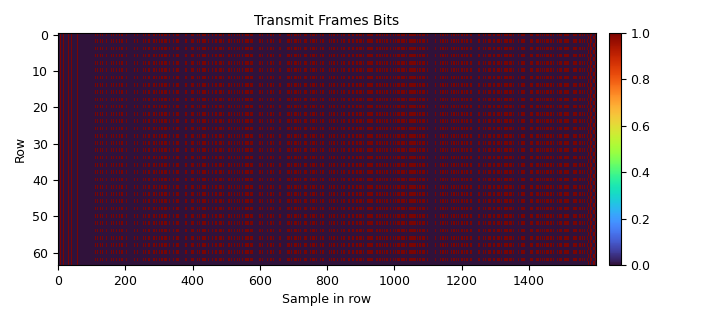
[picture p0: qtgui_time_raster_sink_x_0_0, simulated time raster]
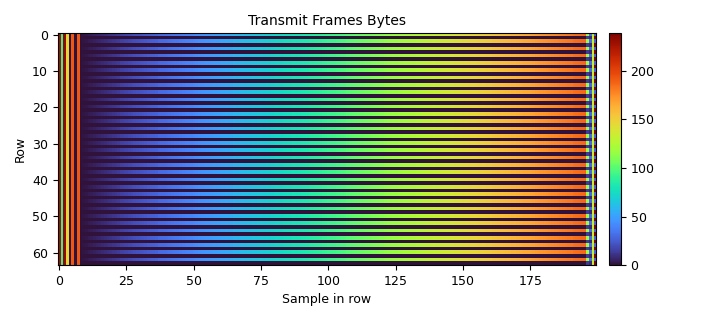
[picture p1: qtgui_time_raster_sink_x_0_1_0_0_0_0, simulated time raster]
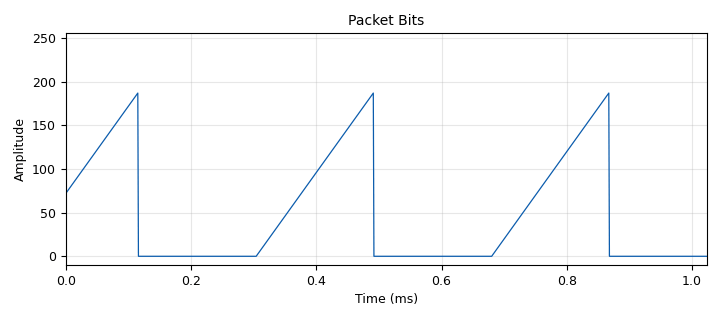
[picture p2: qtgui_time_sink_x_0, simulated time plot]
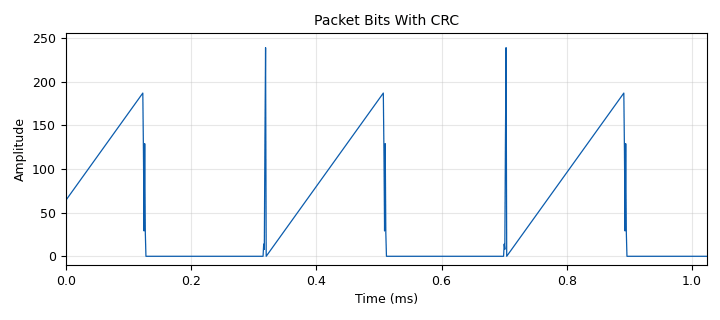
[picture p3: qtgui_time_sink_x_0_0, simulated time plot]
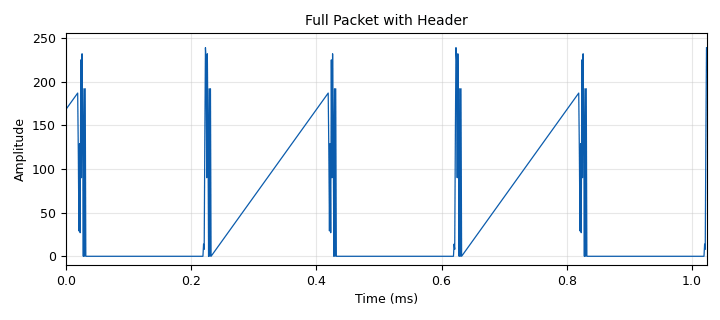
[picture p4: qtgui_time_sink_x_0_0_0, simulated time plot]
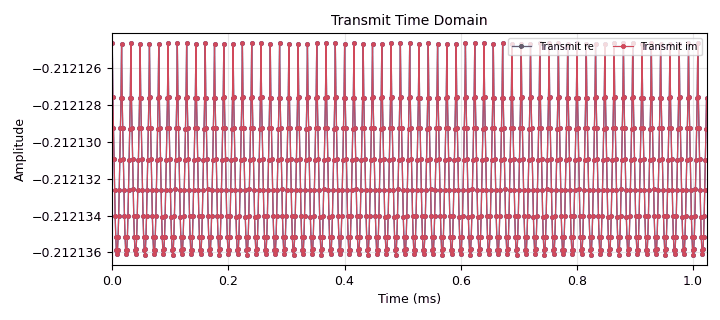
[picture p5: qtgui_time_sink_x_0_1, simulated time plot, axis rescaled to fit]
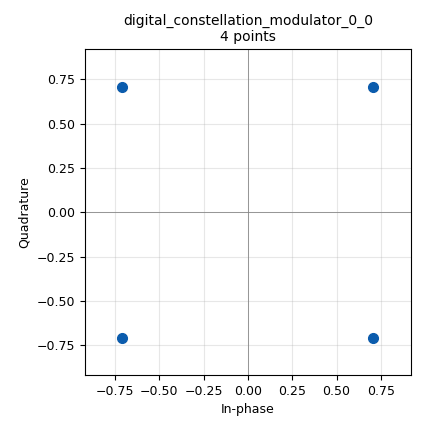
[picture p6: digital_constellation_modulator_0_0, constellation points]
options:
  parameters:
    generate_options: qt_gui
    id: comms_project_tx
    output_language: python
    title: Packetized MPEG Transmitter
  states: {}

blocks:
- name: access_key
  id: variable
  parameters:
    value: '''11100001010110101110100010010011'''
  states: {}
- name: alpha
  id: variable
  parameters:
    comment: |-
      Can't change alpha in real time
      for Consteallation Modulator
    value: '0.45'
  states: {}
- name: bps
  id: variable
  parameters:
    value: constellation.bits_per_symbol()
  states: {}
- name: center_freq
  id: variable
  parameters:
    value: 915e6
  states: {}
- name: constellation
  id: variable_constellation
  parameters:
    precision: '8'
    type: bpsk
  states: {state: disabled}
- name: constellation
  id: variable_constellation
  parameters:
    comment: Differentially encoded 4QAM constellation
    const_points: '[-1-1j, -1+1j, 1+1j, 1-1j]'
    dims: '1'
    normalization: digital.constellation.AMPLITUDE_NORMALIZATION
    precision: '8'
    rot_sym: '4'
    sym_map: '[0, 1, 2, 3]'
    type: calcdist
  states: {}
- name: constellation
  id: variable_constellation
  parameters:
    comment: Differentially encoded 16QAM constellation
    precision: '8'
    sym_map: '[0, 1, 2, 3, 4, 5, 6, 7, 8, 9, 10, 11, 12, 13, 14, 15, 16]'
    type: 16qam
  states: {state: disabled}
- name: constellation
  id: variable_constellation
  parameters:
    comment: Differentially encoded 16QAM constellation
    const_points: |-
      [-0.9486832980505138-0.9486832980505138j,
       -0.31622776601683794-0.9486832980505138j,
        0.31622776601683794-0.9486832980505138j,
        0.9486832980505138-0.9486832980505138j,

       -0.9486832980505138-0.31622776601683794j,
       -0.31622776601683794-0.31622776601683794j,
        0.31622776601683794-0.31622776601683794j,
        0.9486832980505138-0.31622776601683794j,

       -0.9486832980505138+0.31622776601683794j,
       -0.31622776601683794+0.31622776601683794j,
        0.31622776601683794+0.31622776601683794j,
        0.9486832980505138+0.31622776601683794j,

       -0.9486832980505138+0.9486832980505138j,
       -0.31622776601683794+0.9486832980505138j,
        0.31622776601683794+0.9486832980505138j,
        0.9486832980505138+0.9486832980505138j]
    dims: '1'
    normalization: digital.constellation.AMPLITUDE_NORMALIZATION
    precision: '8'
    rot_sym: '4'
    sym_map: '[0, 1, 2, 3, 4, 5, 6, 7, 8, 9, 10, 11, 12, 13, 14, 15]'
    type: calcdist
  states: {state: disabled}
- name: crc_data_sync
  id: variable_qtgui_range
  parameters:
    rangeType: int
    start: '0'
    step: '1'
    stop: '40000'
    value: 188+4
  states: {state: disabled}
- name: frame_sync_cols
  id: variable_qtgui_range
  parameters:
    comment: header_format_default
    start: '0'
    step: '1'
    stop: '2000'
    value: '200'
  states: {}
- name: hdr_format
  id: variable
  parameters:
    comment: header_format_default
    value: digital.header_format_default(access_key, thresh, bps)
  states: {}
- name: packet_groups
  id: variable
  parameters:
    value: '1'
  states: {}
- name: packet_length
  id: variable
  parameters:
    comment: |-
      Group together multiple packets
      to prevent flooding of PDU queue
    value: packet_groups*ts_packet_size
  states: {}
- name: packet_sync_2
  id: variable_qtgui_range
  parameters:
    rangeType: int
    start: '0'
    step: '1'
    stop: '40000'
    value: '200'
  states: {state: disabled}
- name: pkt_fec
  id: variable_ccsds_encoder_def
  parameters:
    comment: |-
      We're going to pass CRC + payload 
      into the FEC, that way at the receiver we
      can fix the CRC and header. Then if the
      CRC fails after FEC we drop the full packet
    framebits: 8*(packet_length+4)
    mode: fec.CC_TERMINATED
    ndim: '0'
    state_start: '0'
  states: {state: disabled}
- name: pkt_fec_dec
  id: variable_repetition_decoder_def
  parameters:
    framebits: 8*(packet_length+4)
    ndim: '0'
    prob: '0.5'
    rep: '3'
  states: {}
- name: pkt_fec_enc
  id: variable_repetition_encoder_def
  parameters:
    framebits: 8*(packet_length+4)
    ndim: '0'
    rep: '3'
  states: {}
- name: raw_data_sync
  id: variable_qtgui_range
  parameters:
    rangeType: int
    start: '0'
    step: '1'
    stop: '40000'
    value: '188'
  states: {}
- name: samp_rate
  id: variable
  parameters:
    value: int(1e6)
  states: {}
- name: sps
  id: variable
  parameters:
    value: '16'
  states: {}
- name: thresh
  id: variable
  parameters:
    value: '0'
  states: {}
- name: ts_packet_size
  id: variable
  parameters:
    value: '188'
  states: {}
- name: tx_attenuation
  id: variable_qtgui_range
  parameters:
    start: '0'
    step: '1'
    stop: '89'
    value: '10'
  states: {}
- name: variable_cc_encoder_def_0
  id: variable_cc_encoder_def
  parameters:
    framebits: '2048'
    k: '7'
    mode: fec.CC_STREAMING
    ndim: '0'
    padding: 'False'
    polys: '[79,109]'
    rate: '2'
    state_start: '0'
  states: {}
- name: video_file
  id: variable
  parameters:
    value: '"./video.ts"'
  states: {state: disabled}
- name: video_file
  id: variable
  parameters:
    value: '"./test_video/mp4sample.ts"'
  states: {}
- name: blocks_file_source_0_0
  id: blocks_file_source
  parameters:
    file: video_file
    repeat: 'True'
    type: byte
  states: {state: disabled}
- name: blocks_multiply_const_vxx_0
  id: blocks_multiply_const_vxx
  parameters:
    const: '0.3'
    type: complex
  states: {}
- name: blocks_null_sink_0
  id: blocks_null_sink
  parameters:
    type: byte
  states: {}
- name: blocks_packed_to_unpacked_xx_0
  id: blocks_packed_to_unpacked_xx
  parameters:
    bits_per_chunk: '1'
    endianness: gr.GR_MSB_FIRST
    type: byte
  states: {}
- name: blocks_repack_bits_bb_0
  id: blocks_repack_bits_bb
  parameters:
    endianness: gr.GR_MSB_FIRST
    k: '8'
    l: '1'
    len_tag_key: '"packet_len"'
  states: {state: disabled}
- name: blocks_repack_bits_bb_0_0
  id: blocks_repack_bits_bb
  parameters:
    endianness: gr.GR_MSB_FIRST
    k: '8'
    l: '1'
    len_tag_key: '"packet_len"'
  states: {state: disabled}
- name: blocks_repack_bits_bb_0_1
  id: blocks_repack_bits_bb
  parameters:
    endianness: gr.GR_MSB_FIRST
    k: '8'
    l: '1'
    len_tag_key: '"packet_len"'
  states: {state: disabled}
- name: blocks_repack_bits_bb_0_2
  id: blocks_repack_bits_bb
  parameters:
    endianness: gr.GR_LSB_FIRST
    k: '1'
    l: '8'
    len_tag_key: '"packet_len"'
  states: {}
- name: blocks_repack_bits_bb_0_2_0
  id: blocks_repack_bits_bb
  parameters:
    endianness: gr.GR_LSB_FIRST
    k: '8'
    l: '1'
    len_tag_key: '"packet_len"'
  states: {}
- name: blocks_stream_mux_0
  id: blocks_stream_mux
  parameters:
    lengths: (188, 188)
    type: byte
  states: {}
- name: blocks_stream_to_tagged_stream_0_0
  id: blocks_stream_to_tagged_stream
  parameters:
    len_tag_key: '"packet_len"'
    packet_len: packet_length
    type: byte
  states: {}
- name: blocks_tagged_stream_mux_0
  id: blocks_tagged_stream_mux
  parameters:
    lengthtagname: '"packet_len"'
    ninputs: '2'
    type: byte
  states: {}
- name: blocks_throttle2_0
  id: blocks_throttle2
  parameters:
    samples_per_second: samp_rate/10
    type: byte
  states: {state: bypassed}
- name: blocks_uchar_to_float_0
  id: blocks_uchar_to_float
  parameters: {}
  states: {}
- name: blocks_uchar_to_float_0_0
  id: blocks_uchar_to_float
  parameters: {}
  states: {}
- name: blocks_uchar_to_float_0_0_0
  id: blocks_uchar_to_float
  parameters: {}
  states: {}
- name: blocks_uchar_to_float_1
  id: blocks_uchar_to_float
  parameters: {}
  states: {}
- name: blocks_uchar_to_float_1_0
  id: blocks_uchar_to_float
  parameters: {}
  states: {}
- name: blocks_vector_source_x_0
  id: blocks_vector_source_x
  parameters:
    repeat: 'True'
    type: byte
    vector: numpy.tile(numpy.arange(188, dtype=numpy.uint8), 1000).tolist()
  states: {}
- name: blocks_vector_source_x_0_0
  id: blocks_vector_source_x
  parameters:
    repeat: 'True'
    type: byte
    vector: numpy.zeros(188, dtype=numpy.uint8).tolist()
  states: {}
- name: digital_constellation_modulator_0_0
  id: digital_constellation_modulator
  parameters:
    constellation: constellation
    differential: 'True'
    excess_bw: alpha
    samples_per_symbol: sps
  states: {}
- name: digital_crc32_bb_0
  id: digital_crc32_bb
  parameters:
    check: 'False'
    lengthtagname: '"packet_len"'
    packed: 'True'
  states: {}
- name: digital_protocol_formatter_bb_0
  id: digital_protocol_formatter_bb
  parameters:
    format: hdr_format
    len_tag_key: '"packet_len"'
  states: {}
- name: fec_tagged_decoder_0
  id: fec_tagged_decoder
  parameters:
    decoder: pkt_fec_dec
    lentagname: '"packet_len"'
    mtu: '4000'
  states: {}
- name: fec_tagged_encoder_0
  id: fec_tagged_encoder
  parameters:
    encoder: pkt_fec_enc
    lentagname: '"packet_len"'
    mtu: '4000'
  states: {}
- name: iio_pluto_sink_0_0_0
  id: iio_pluto_sink
  parameters:
    attenuation1: tx_attenuation
    bandwidth: int(samp_rate)
    buffer_size: '32768'
    cyclic: 'False'
    filter_source: '''Auto'''
    frequency: int(center_freq)
    samplerate: int(samp_rate)
    type: fc32
    uri: 192.168.2.1
  states: {}
- name: import_0
  id: import
  parameters:
    imports: import numpy
  states: {}
- name: import_0_0
  id: import
  parameters:
    imports: import math
  states: {}
- name: qtgui_time_raster_sink_x_0_0
  id: qtgui_time_raster_sink_x
  parameters:
    gui_hint: 28,0
    name: '"Transmit Frames Bits"'
    ncols: frame_sync_cols*8
    nrows: '64'
    samp_rate: samp_rate
    type: byte
    zmin: '0'
  states: {}
- name: qtgui_time_raster_sink_x_0_1_0_0_0_0
  id: qtgui_time_raster_sink_x
  parameters:
    gui_hint: 29,0
    name: '" Transmit Frames Bytes"'
    ncols: frame_sync_cols
    nrows: '64'
    samp_rate: samp_rate
    type: byte
    zmax: '255'
    zmin: '0'
  states: {}
- name: qtgui_time_raster_sink_x_0_1_0_0_0_0_0
  id: qtgui_time_raster_sink_x
  parameters:
    name: '" Transmit Payload Bits"'
    ncols: raw_data_sync*8
    nrows: '64'
    samp_rate: samp_rate
    type: byte
    zmin: '0'
  states: {state: disabled}
- name: qtgui_time_raster_sink_x_0_1_0_0_0_0_0_0
  id: qtgui_time_raster_sink_x
  parameters:
    name: '" Transmit Payload with CRC"'
    ncols: crc_data_sync*8
    nrows: '64'
    samp_rate: samp_rate
    type: byte
    zmin: '0'
  states: {state: disabled}
- name: qtgui_time_raster_sink_x_0_1_0_0_0_0_0_1
  id: qtgui_time_raster_sink_x
  parameters:
    name: '" Transmit Frame Bits #2 (test packing)"'
    ncols: packet_sync_2*8
    nrows: '64'
    samp_rate: samp_rate
    type: byte
    zmin: '0'
  states: {state: disabled}
- name: qtgui_time_raster_sink_x_0_1_0_0_0_0_0_2
  id: qtgui_time_raster_sink_x
  parameters:
    name: '" Transmit Payload Bytes"'
    ncols: raw_data_sync
    nrows: '64'
    samp_rate: samp_rate
    type: byte
    zmin: '0'
  states: {state: disabled}
- name: qtgui_time_sink_x_0
  id: qtgui_time_sink_x
  parameters:
    name: '"Packet Bits"'
    size: '1024'
    srate: samp_rate
    type: float
    ymax: '256'
    ymin: '0'
  states: {}
- name: qtgui_time_sink_x_0_0
  id: qtgui_time_sink_x
  parameters:
    name: '"Packet Bits With CRC"'
    size: '1024'
    srate: samp_rate
    type: float
    ymax: '256'
    ymin: '0'
  states: {}
- name: qtgui_time_sink_x_0_0_0
  id: qtgui_time_sink_x
  parameters:
    name: '"Full Packet with Header"'
    size: '1024'
    srate: samp_rate
    type: float
    ymax: '256'
    ymin: '0'
  states: {}
- name: qtgui_time_sink_x_0_1
  id: qtgui_time_sink_x
  parameters:
    gui_hint: 31,0
    label1: Transmit re
    label2: Transmit im
    marker1: '0'
    marker2: '0'
    name: '"Transmit Time Domain"'
    size: '1024'
    srate: samp_rate
    type: complex
  states: {}
- name: qtgui_time_sink_x_1
  id: qtgui_time_sink_x
  parameters:
    name: '"FEC Corrected Payload"'
    size: '1024'
    srate: samp_rate
    type: float
    ymax: '256'
    ymin: '0'
  states: {}
- name: qtgui_time_sink_x_1_0
  id: qtgui_time_sink_x
  parameters:
    name: '"FEC Decoded Payload"'
    size: '1024'
    srate: samp_rate
    type: float
    ymax: '256'
    ymin: '0'
  states: {}
- name: virtual_sink_0
  id: virtual_sink
  parameters:
    stream_id: payload_bytes
  states: {}
- name: virtual_sink_0_0
  id: virtual_sink
  parameters:
    stream_id: header_bytes
  states: {}
- name: virtual_sink_1
  id: virtual_sink
  parameters:
    stream_id: fec_payload
  states: {state: disabled}
- name: virtual_sink_1_0_0
  id: virtual_sink
  parameters:
    stream_id: pkt_bytes
  states: {}
- name: virtual_source_0
  id: virtual_source
  parameters:
    stream_id: payload_bytes
  states: {}
- name: virtual_source_0_0
  id: virtual_source
  parameters:
    comment: |-
      This is the simulated RX chain after 
      demodulation, etc and packetization
    stream_id: header_bytes
  states: {}
- name: virtual_source_0_0_0
  id: virtual_source
  parameters:
    comment: |-
      Feed packet bytes into
      the constellation modulator
    stream_id: pkt_bytes
  states: {}
- name: virtual_source_0_0_1
  id: virtual_source
  parameters:
    stream_id: payload_bytes
  states: {}

connections:
- [blocks_file_source_0_0, '0', blocks_stream_to_tagged_stream_0_0, '0']
- [blocks_multiply_const_vxx_0, '0', iio_pluto_sink_0_0_0, '0']
- [blocks_multiply_const_vxx_0, '0', qtgui_time_sink_x_0_1, '0']
- [blocks_packed_to_unpacked_xx_0, '0', qtgui_time_raster_sink_x_0_0, '0']
- [blocks_repack_bits_bb_0, '0', qtgui_time_raster_sink_x_0_1_0_0_0_0_0, '0']
- [blocks_repack_bits_bb_0_0, '0', qtgui_time_raster_sink_x_0_1_0_0_0_0_0_0, '0']
- [blocks_repack_bits_bb_0_1, '0', qtgui_time_raster_sink_x_0_1_0_0_0_0_0_1, '0']
- [blocks_repack_bits_bb_0_2, '0', blocks_uchar_to_float_1_0, '0']
- [blocks_repack_bits_bb_0_2_0, '0', fec_tagged_decoder_0, '0']
- [blocks_stream_mux_0, '0', blocks_throttle2_0, '0']
- [blocks_stream_to_tagged_stream_0_0, '0', blocks_uchar_to_float_0, '0']
- [blocks_stream_to_tagged_stream_0_0, '0', digital_crc32_bb_0, '0']
- [blocks_stream_to_tagged_stream_0_0, '0', qtgui_time_raster_sink_x_0_1_0_0_0_0_0_2, '0']
- [blocks_tagged_stream_mux_0, '0', virtual_sink_1_0_0, '0']
- [blocks_throttle2_0, '0', blocks_stream_to_tagged_stream_0_0, '0']
- [blocks_uchar_to_float_0, '0', qtgui_time_sink_x_0, '0']
- [blocks_uchar_to_float_0_0, '0', qtgui_time_sink_x_0_0, '0']
- [blocks_uchar_to_float_0_0_0, '0', qtgui_time_sink_x_0_0_0, '0']
- [blocks_uchar_to_float_1, '0', qtgui_time_sink_x_1, '0']
- [blocks_uchar_to_float_1_0, '0', qtgui_time_sink_x_1_0, '0']
- [blocks_vector_source_x_0, '0', blocks_stream_mux_0, '0']
- [blocks_vector_source_x_0_0, '0', blocks_stream_mux_0, '1']
- [digital_constellation_modulator_0_0, '0', blocks_multiply_const_vxx_0, '0']
- [digital_crc32_bb_0, '0', blocks_repack_bits_bb_0_0, '0']
- [digital_crc32_bb_0, '0', blocks_uchar_to_float_0_0, '0']
- [digital_crc32_bb_0, '0', digital_protocol_formatter_bb_0, '0']
- [digital_crc32_bb_0, '0', virtual_sink_0, '0']
- [digital_protocol_formatter_bb_0, '0', virtual_sink_0_0, '0']
- [fec_tagged_decoder_0, '0', blocks_repack_bits_bb_0_2, '0']
- [fec_tagged_encoder_0, '0', blocks_null_sink_0, '0']
- [fec_tagged_encoder_0, '0', blocks_repack_bits_bb_0_2_0, '0']
- [fec_tagged_encoder_0, '0', blocks_uchar_to_float_1, '0']
- [fec_tagged_encoder_0, '0', virtual_sink_1, '0']
- [virtual_source_0, '0', blocks_tagged_stream_mux_0, '1']
- [virtual_source_0_0, '0', blocks_tagged_stream_mux_0, '0']
- [virtual_source_0_0_0, '0', blocks_packed_to_unpacked_xx_0, '0']
- [virtual_source_0_0_0, '0', blocks_repack_bits_bb_0_1, '0']
- [virtual_source_0_0_0, '0', blocks_uchar_to_float_0_0_0, '0']
- [virtual_source_0_0_0, '0', digital_constellation_modulator_0_0, '0']
- [virtual_source_0_0_0, '0', qtgui_time_raster_sink_x_0_1_0_0_0_0, '0']
- [virtual_source_0_0_1, '0', fec_tagged_encoder_0, '0']

metadata:
  file_format: 1
  grc_version: 3.10.12.0
